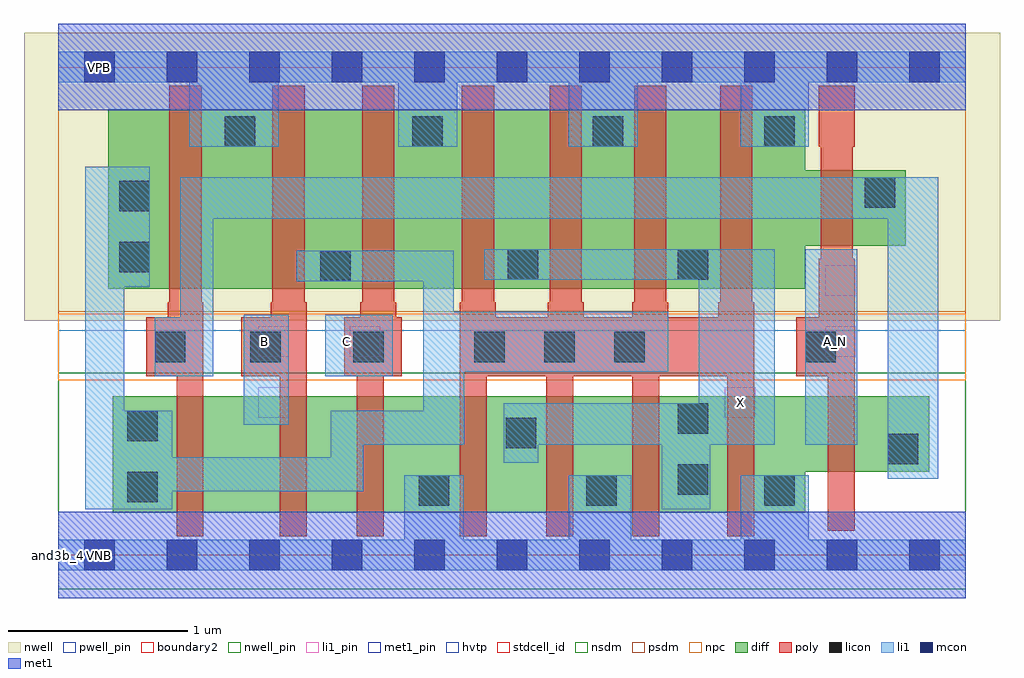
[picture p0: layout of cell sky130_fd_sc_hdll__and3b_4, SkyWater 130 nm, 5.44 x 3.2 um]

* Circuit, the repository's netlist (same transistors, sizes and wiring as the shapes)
* Copyright 2020 The SkyWater PDK Authors
*
* Licensed under the Apache License, Version 2.0 (the "License");
* you may not use this file except in compliance with the License.
* You may obtain a copy of the License at
*
*     https://www.apache.org/licenses/LICENSE-2.0
*
* Unless required by applicable law or agreed to in writing, software
* distributed under the License is distributed on an "AS IS" BASIS,
* WITHOUT WARRANTIES OR CONDITIONS OF ANY KIND, either express or implied.
* See the License for the specific language governing permissions and
* limitations under the License.
*
* SPDX-License-Identifier: Apache-2.0

.SUBCKT sky130_fd_sc_hdll__and3b_4 A_N B C VGND VNB VPB VPWR X
*.PININFO A_N:I B:I C:I VGND:I VNB:I VPB:I VPWR:I X:O
MMP0 y A VPWR VPB sky130_fd_pr__pfet_01v8_hvt m=1 w=1.0U l=0.18U mult=1 sa=0.265
+ sb=0.265 sd=0.28 area=0.063 perim=1.14
MMP1 y B VPWR VPB sky130_fd_pr__pfet_01v8_hvt m=1 w=1.0U l=0.18U mult=1 sa=0.265
+ sb=0.265 sd=0.28 area=0.063 perim=1.14
MMP2 y C VPWR VPB sky130_fd_pr__pfet_01v8_hvt m=1 w=1.0U l=0.18U mult=1 sa=0.265
+ sb=0.265 sd=0.28 area=0.063 perim=1.14
MMIP0 A A_N VPWR VPB sky130_fd_pr__pfet_01v8_hvt m=1 w=0.42U l=0.18U mult=1 sa=0.265
+ sb=0.265 sd=0.28 area=0.063 perim=1.14
MMIP1 X y VPWR VPB sky130_fd_pr__pfet_01v8_hvt m=4 w=1.0U l=0.18U mult=1 sa=0.265
+ sb=0.265 sd=0.28 area=0.063 perim=1.14
MMN0 y A sndA VNB sky130_fd_pr__nfet_01v8 m=1 w=0.65U l=0.15U mult=1 sa=0.265 sb=0.265
+ sd=0.28 area=0.063 perim=1.14
MMN1 sndA B sndB VNB sky130_fd_pr__nfet_01v8 m=1 w=0.65U l=0.15U mult=1 sa=0.265
+ sb=0.265 sd=0.28 area=0.063 perim=1.14
MMN2 sndB C VGND VNB sky130_fd_pr__nfet_01v8 m=1 w=0.65U l=0.15U mult=1 sa=0.265
+ sb=0.265 sd=0.28 area=0.063 perim=1.14
MMIN0 A A_N VGND VNB sky130_fd_pr__nfet_01v8 m=1 w=0.42U l=0.15U mult=1 sa=0.265
+ sb=0.265 sd=0.28 area=0.063 perim=1.14
MMIN1 X y VGND VNB sky130_fd_pr__nfet_01v8 m=4 w=0.65U l=0.15U mult=1 sa=0.265
+ sb=0.265 sd=0.28 area=0.063 perim=1.14
.ENDS sky130_fd_sc_hdll__and3b_4

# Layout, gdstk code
import gdstk
lib = gdstk.Library(unit=1e-6, precision=1e-09)
def R(c, l, rs):  # rectangles x0, y0, x1, y1
    for r in rs: c.add(gdstk.rectangle(r[:2], r[2:], *l))
def A(c, l, x, y, w, h, nx, ny, dx, dy):  # array of equal rectangles
    R(c, l, [(x+i*dx, y+j*dy, x+i*dx+w, y+j*dy+h) for i in range(nx) for j in range(ny)])
def P(c, l, *ps):  # polygons
    for p in ps: c.add(gdstk.Polygon(p, *l))
nwell_pin = (64, 16)
nwell = (64, 20)
diff = (65, 20)
poly = (66, 20)
licon = (66, 44)
li1_pin = (67, 16)
li1 = (67, 20)
mcon = (67, 44)
met1_pin = (68, 16)
met1 = (68, 20)
hvtp = (78, 44)
stdcell_id = (81, 4)
nsdm = (93, 44)
psdm = (94, 20)
npc = (95, 20)
pwell_pin = (122, 16)
boundary2 = (236, 0)

sky130_fd_sc_hdll__and3b = lib.new_cell('sky130_fd_sc_hdll__and3b_4')
R(sky130_fd_sc_hdll__and3b, nwell_pin, [(0.145,2.635,0.315,2.805)])
R(sky130_fd_sc_hdll__and3b, nwell, [(-0.19,1.305,5.25,2.91)])
P(sky130_fd_sc_hdll__and3b, diff, [(4.725,2.145),(4.165,2.145),(4.165,2.485),(0.28,2.485),(0.28,1.485),(4.165,1.485),(4.165,1.725),(4.725,1.725)],
  [(4.855,0.885),(0.305,0.885),(0.305,0.235),(4.165,0.235),(4.165,0.465),(4.855,0.465)])
P(sky130_fd_sc_hdll__and3b, poly, [(0.81,1.41),(0.8,1.41),(0.8,2.615),(0.62,2.615),(0.62,1.41),(0.61,1.41),(0.61,1.325),(0.49,1.325),(0.49,0.995),(0.66,0.995),(0.66,0.105),(0.81,0.105)],
  [(1.385,1.41),(1.375,1.41),(1.375,2.615),(1.195,2.615),(1.195,1.41),(1.185,1.41),(1.185,1.325),(1.02,1.325),(1.02,0.995),(1.235,0.995),(1.235,0.105),(1.385,0.105)],
  [(1.915,1.325),(1.885,1.325),(1.885,1.41),(1.875,1.41),(1.875,2.615),(1.695,2.615),(1.695,1.41),(1.685,1.41),(1.685,1.325),(1.595,1.325),(1.595,0.995),(1.665,0.995),(1.665,0.105),(1.815,0.105),(1.815,0.995),(1.915,0.995)],
  [(3.88,1.41),(3.87,1.41),(3.87,2.615),(3.69,2.615),(3.69,1.41),(3.68,1.41),(3.68,1.325),(3.4,1.325),(3.4,1.41),(3.39,1.41),(3.39,2.615),(3.21,2.615),(3.21,1.41),(3.2,1.41),(3.2,1.325),(2.93,1.325),(2.93,1.41),(2.92,1.41),(2.92,2.615),(2.74,2.615),(2.74,1.41),(2.73,1.41),(2.73,1.325),(2.44,1.325),(2.44,1.41),(2.43,1.41),(2.43,2.615),(2.25,2.615),(2.25,1.41),(2.24,1.41),(2.24,0.105),(2.39,0.105),(2.39,0.995),(2.72,0.995),(2.72,0.105),(2.87,0.105),(2.87,0.995),(3.2,0.995),(3.2,0.105),(3.35,0.105),(3.35,0.995),(3.73,0.995),(3.73,0.105),(3.88,0.105)],
  [(4.44,2.615),(4.24,2.615),(4.24,2.275),(4.25,2.275),(4.25,1.65),(4.24,1.65),(4.24,1.325),(4.115,1.325),(4.115,0.995),(4.29,0.995),(4.29,0.135),(4.44,0.135),(4.44,1.65),(4.43,1.65),(4.43,2.275),(4.44,2.275)])
A(sky130_fd_sc_hdll__and3b, licon, 2.32, 1.075, 0.17, 0.17, 3, 1, 0.39, 0)
R(sky130_fd_sc_hdll__and3b, licon, [(2.01,0.275,2.18,0.445), (2.945,0.275,3.115,0.445), (3.935,0.275,4.105,0.445), (0.385,0.295,0.555,0.465), (3.455,0.335,3.625,0.505), (4.625,0.505,4.795,0.675), (2.495,0.595,2.665,0.765), (0.385,0.635,0.555,0.805), (3.455,0.675,3.625,0.845), (0.54,1.075,0.71,1.245), (1.07,1.075,1.24,1.245), (1.645,1.075,1.815,1.245), (4.165,1.075,4.335,1.245), (1.46,1.525,1.63,1.695), (2.505,1.535,2.675,1.705), (3.455,1.535,3.625,1.705), (0.34,1.575,0.51,1.745), (0.34,1.915,0.51,2.085), (4.495,1.935,4.665,2.105), (0.93,2.275,1.1,2.445), (1.975,2.275,2.145,2.445), (2.98,2.275,3.15,2.445), (3.935,2.275,4.105,2.445)])
R(sky130_fd_sc_hdll__and3b, li1_pin, [(1.115,0.765,1.285,0.935), (3.715,0.765,3.885,0.935), (1.115,1.105,1.285,1.275), (1.625,1.105,1.795,1.275), (4.275,1.105,4.445,1.275), (4.275,1.445,4.445,1.615)])
R(sky130_fd_sc_hdll__and3b, li1, [(4.165,0.615,4.455,1.705), (1.035,0.725,1.285,1.34), (1.49,0.995,1.865,1.34)])
P(sky130_fd_sc_hdll__and3b, li1, [(5.06,2.805),(0,2.805),(0,2.635),(0.73,2.635),(0.73,2.275),(1.23,2.275),(1.23,2.635),(1.895,2.635),(1.895,2.275),(2.225,2.275),(2.225,2.635),(2.845,2.635),(2.845,2.275),(3.23,2.275),(3.23,2.635),(3.805,2.635),(3.805,2.275),(4.185,2.275),(4.185,2.635),(5.06,2.635)],
  [(4.905,2.105),(0.68,2.105),(0.68,1.325),(0.54,1.325),(0.54,0.995),(0.865,0.995),(0.865,1.875),(4.625,1.875),(4.625,0.425),(4.905,0.425)],
  [(5.06,0.085),(4.185,0.085),(4.185,0.445),(3.805,0.445),(3.805,0.085),(3.195,0.085),(3.195,0.445),(2.845,0.445),(2.845,0.085),(2.26,0.085),(2.26,0.445),(1.93,0.445),(1.93,0.085),(0,0.085),(0,-0.085),(5.06,-0.085)],
  [(3.995,1.705),(2.375,1.705),(2.375,1.535),(3.57,1.535),(3.57,0.845),(2.485,0.845),(2.485,0.515),(2.675,0.515),(2.675,0.615),(3.365,0.615),(3.365,0.255),(3.635,0.255),(3.635,0.615),(3.995,0.615)],
  [(3.4,1.355),(2.205,1.355),(2.205,1.695),(1.33,1.695),(1.33,1.525),(2.035,1.525),(2.035,0.805),(1.52,0.805),(1.52,0.545),(0.635,0.545),(0.635,0.805),(0.37,0.805),(0.37,1.495),(0.51,1.495),(0.51,2.165),(0.15,2.165),(0.15,0.255),(0.635,0.255),(0.635,0.355),(1.7,0.355),(1.7,0.615),(2.265,0.615),(2.265,1.02),(3.4,1.02)])
A(sky130_fd_sc_hdll__and3b, mcon, 0.145, -0.085, 0.17, 0.17, 11, 2, 0.46, 2.72)
R(sky130_fd_sc_hdll__and3b, met1_pin, [(0.145,-0.085,0.315,0.085), (0.145,2.635,0.315,2.805)])
R(sky130_fd_sc_hdll__and3b, met1, [(0,-0.24,5.06,0.24), (0,2.48,5.06,2.96)])
R(sky130_fd_sc_hdll__and3b, hvtp, [(0,1.25,5.06,2.72)])
R(sky130_fd_sc_hdll__and3b, stdcell_id, [(0,0,5.06,2.72)])
R(sky130_fd_sc_hdll__and3b, nsdm, [(0,-0.19,5.06,1.015)])
R(sky130_fd_sc_hdll__and3b, psdm, [(0,1.355,5.06,2.91)])
R(sky130_fd_sc_hdll__and3b, npc, [(0,0.975,5.06,1.345)])
R(sky130_fd_sc_hdll__and3b, pwell_pin, [(0.145,-0.085,0.315,0.085)])
R(sky130_fd_sc_hdll__and3b, boundary2, [(0,0,5.06,2.72)])
sky130_fd_sc_hdll__and3b.add(gdstk.Label('A_N', (4.335,1.19), layer=67, texttype=5))
sky130_fd_sc_hdll__and3b.add(gdstk.Label('X', (3.805,0.85), layer=67, texttype=5))
sky130_fd_sc_hdll__and3b.add(gdstk.Label('C', (1.61,1.19), layer=67, texttype=5))
sky130_fd_sc_hdll__and3b.add(gdstk.Label('B', (1.15,1.19), layer=67, texttype=5))
sky130_fd_sc_hdll__and3b.add(gdstk.Label('VNB', (0.23,0), layer=64, texttype=59))
sky130_fd_sc_hdll__and3b.add(gdstk.Label('VPB', (0.23,2.72), layer=64, texttype=5))
sky130_fd_sc_hdll__and3b.add(gdstk.Label('VGND', (0.23,0), layer=68, texttype=5))
sky130_fd_sc_hdll__and3b.add(gdstk.Label('VPWR', (0.23,2.72), layer=68, texttype=5))
sky130_fd_sc_hdll__and3b.add(gdstk.Label('and3b_4', (0,0), layer=83, texttype=44))

lib.write_gds('sky130_fd_sc_hdll__and3b_4.gds')
